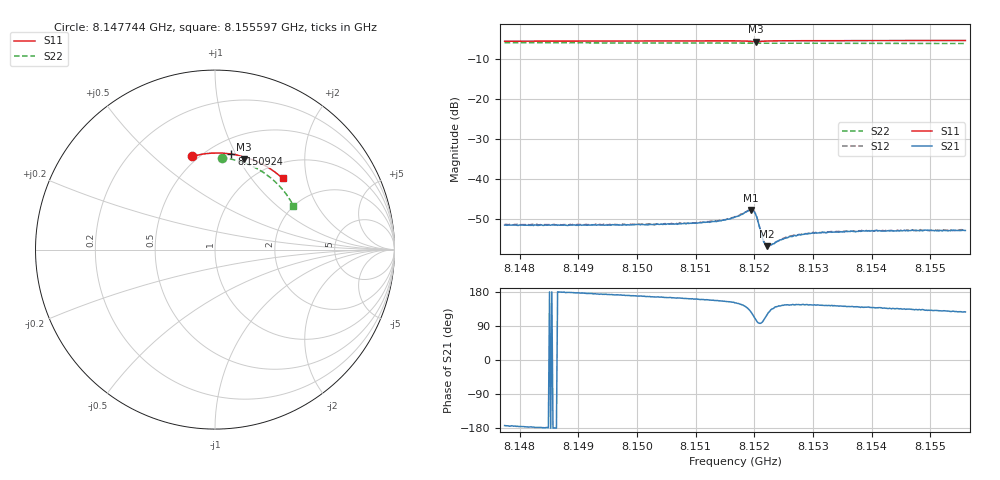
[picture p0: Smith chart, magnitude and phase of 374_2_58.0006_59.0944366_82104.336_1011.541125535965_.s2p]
#  HZ  S  RI  R  50.00
! Rohde & Schwarz Vector Network Analyzer
! Rohde-Schwarz,ZNB20-2Port,1311601062101988,3.16
! Created: UTC 3/21/2024, 1:07:03 AM
! freq[Hz]  re:S11  im:S11  re:S21  im:S21  re:S12  im:S12  re:S22  im:S22
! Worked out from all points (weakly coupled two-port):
!   401 points, 8.147744 GHz to 8.155597 GHz, reference 50 ohm
!   highest |S21| = -47.79 dB at 8.151945 GHz (marker M1); lowest = -56.9 dB at 8.15222 GHz (marker M2)
!   lowest |S11| = -5.5 dB at 8.152024 GHz (marker M3), VSWR 3.25, Z = 37.5 + j52.6 ohm
!   |S11| at or under -10 dB: nowhere
!   |S22| runs from -6.0 to -5.8 dB; largest |S21 - S12| = 0.00013
!   S11 on the Smith chart (normalised r, x): 8.147744 GHz: 0.46, +0.67; 8.150924 GHz: 0.64, +0.96; 8.155597 GHz: 1.28, +1.45
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8.147744e9  -0.1285 0.5193  -0.0026 -0.00032  -0.00266 -0.000261  0.0377 0.5112
8.1490594e9  -0.0385 0.5359  -0.0026 0.000145  -0.00267 0.000217  0.1219 0.4961
8.1503748e9  0.0531 0.5369  -0.00259 0.00064  -0.00259 0.000691  0.2018 0.4674
8.1509245e9  0.0913 0.5325  -0.00261 0.000884  -0.00262 0.000935  0.233 0.4518
8.1513957e9  0.1244 0.5262  -0.0027 0.0012  -0.00273 0.00125  0.2593 0.4365
8.1516705e9  0.1442 0.5208  -0.00288 0.00162  -0.00291 0.00166  0.2739 0.4269
8.1517687e9  0.1515 0.5178  -0.00296 0.00191  -0.00301 0.00199  0.279 0.4232
8.1518865e9  0.1597 0.5122  -0.00286 0.0027  -0.00283 0.0028  0.2852 0.4188
8.1519454e9  0.1621 0.5079  -0.00241 0.00329  -0.0024 0.00335  0.2881 0.4166
8.1519847e9  0.162 0.5053  -0.00177 0.00354  -0.00176 0.00359  0.2899 0.415
8.1520239e9  0.1609 0.5046  -0.000973 0.00341  -0.000955 0.00347  0.2918 0.4135
8.1520632e9  0.1602 0.5057  -0.000427 0.00287  -0.000397 0.00288  0.2938 0.4122
8.1521417e9  0.1639 0.5096  -0.000337 0.00174  -0.000349 0.00178  0.2976 0.4094
8.152181e9  0.1671 0.5105  -0.000537 0.00144  -0.000537 0.00143  0.2997 0.408
8.1522203e9  0.1704 0.5108  -0.000718 0.00123  -0.000734 0.00125  0.3018 0.4064
8.1522595e9  0.1738 0.5107  -0.0009 0.00115  -0.000874 0.00115  0.3037 0.4049
8.1524166e9  0.186 0.5085  -0.00133 0.001  -0.0013 0.00106  0.3115 0.3986
8.1526326e9  0.2013 0.5037  -0.00154 0.00107  -0.00158 0.00111  0.322 0.3898
8.1529859e9  0.2247 0.4946  -0.00171 0.00119  -0.0017 0.00123  0.3386 0.3749
8.1535357e9  0.2595 0.4784  -0.00169 0.00133  -0.00172 0.00138  0.363 0.3502
8.1543014e9  0.3055 0.4518  -0.00162 0.00154  -0.00159 0.00153  0.3936 0.313
8.1555971e9  0.3761 0.3973  -0.00134 0.00179  -0.00134 0.00181  0.4366 0.2449
